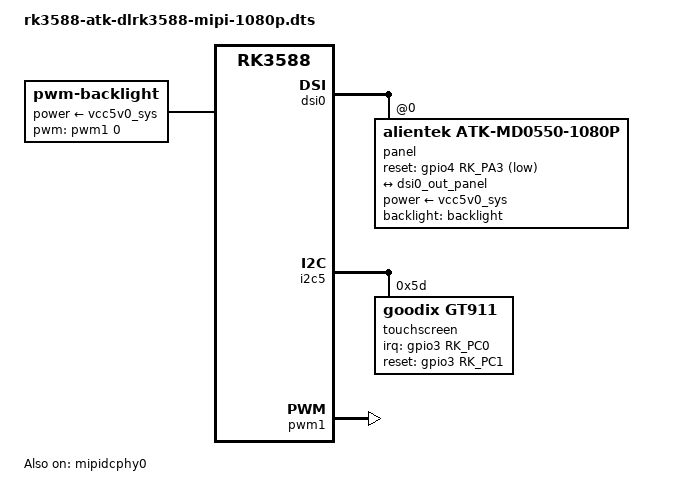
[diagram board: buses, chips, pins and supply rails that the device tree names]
// SPDX-License-Identifier: (GPL-2.0+ OR MIT)
#include "rk3588-atk-dlrk3588.dts"

/ {
	backlight: backlight {
		compatible = "pwm-backlight";
		pwms = <&pwm1 0 25000 0>;
		brightness-levels = <0 16 32 64 96 128 160 192 224 255>;
		default-brightness-level = <7>;
		power-supply = <&vcc5v0_sys>;
	};
};

&dsi0 {
	#address-cells = <1>;
	#size-cells = <0>;
	/* Use a CRU-managed PLL instead of inheriting the firmware's SPLL. */
	assigned-clocks = <&cru CLK_DSIHOST0>;
	assigned-clock-parents = <&cru PLL_CPLL>;
	assigned-clock-rates = <375000000>;
	status = "okay";

	panel@0 {
		compatible = "alientek,atk-md0550-1080p";
		reg = <0>;
		backlight = <&backlight>;
		power-supply = <&vcc5v0_sys>;
		reset-gpios = <&gpio4 RK_PA3 GPIO_ACTIVE_LOW>;
		pinctrl-names = "default";
		pinctrl-0 = <&mipi0_reset>;

		port {
			panel_in_dsi0: endpoint {
				remote-endpoint = <&dsi0_out_panel>;
			};
		};
	};
};

&dsi0_in {
	dsi0_in_vp3: endpoint {
		remote-endpoint = <&vp3_out_dsi0>;
	};
};

&dsi0_out {
	dsi0_out_panel: endpoint {
		remote-endpoint = <&panel_in_dsi0>;
	};
};

&i2c5 {
	touchscreen@5d {
		compatible = "goodix,gt911";
		reg = <0x5d>;
		interrupt-parent = <&gpio3>;
		interrupts = <RK_PC0 IRQ_TYPE_EDGE_FALLING>;
		irq-gpios = <&gpio3 RK_PC0 GPIO_ACTIVE_HIGH>;
		/* Goodix's reset protocol uses physical levels (0 then 1). */
		reset-gpios = <&gpio3 RK_PC1 GPIO_ACTIVE_HIGH>;
		pinctrl-names = "default";
		pinctrl-0 = <&mipi0_touch>;
		touchscreen-size-x = <1080>;
		touchscreen-size-y = <1920>;
	};
};

&mipidcphy0 {
	status = "okay";
};

&pinctrl {
	lcd {
		mipi0_reset: mipi0-reset {
			rockchip,pins = <4 RK_PA3 RK_FUNC_GPIO &pcfg_pull_none>;
		};

		mipi0_touch: mipi0-touch {
			rockchip,pins = <3 RK_PC1 RK_FUNC_GPIO &pcfg_pull_none>,
				       <3 RK_PC0 RK_FUNC_GPIO &pcfg_pull_up>;
		};
	};
};

&pwm1 {
	status = "okay";
};

&vp3 {
	vp3_out_dsi0: endpoint@ROCKCHIP_VOP2_EP_MIPI0 {
		reg = <ROCKCHIP_VOP2_EP_MIPI0>;
		remote-endpoint = <&dsi0_in_vp3>;
	};
};
